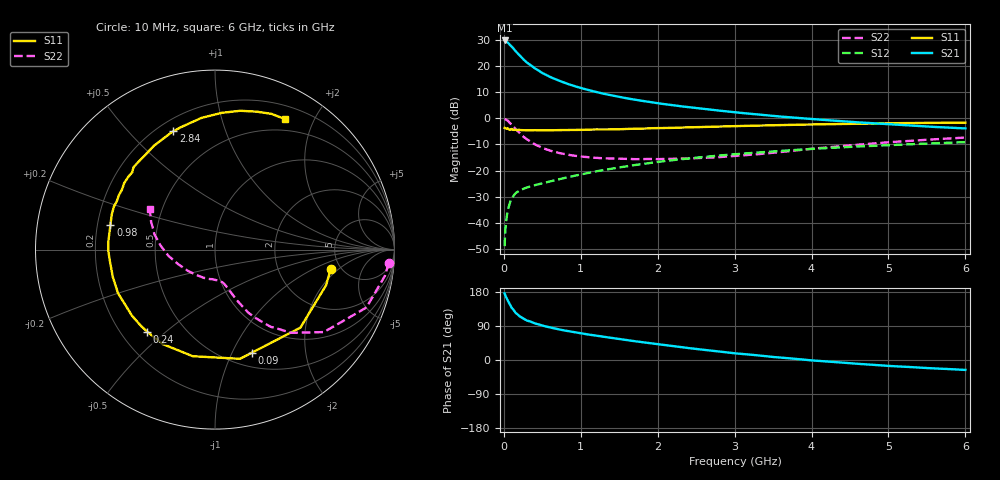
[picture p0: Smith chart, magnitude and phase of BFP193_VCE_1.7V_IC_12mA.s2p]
! Infineon Technologies  Discrete & RF Semiconductors
! BFP193
! VCE = 1.7 V,  IC =  12 mA
! Common Emitter S-Parameters:  Jan 2016
# GHz  S  MA  R  50
!  f  S11  S21  S12  S22
! GHz  MAG  ANG  MAG  ANG  MAG  ANG  MAG  ANG
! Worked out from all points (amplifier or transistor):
!   210 points, 10 MHz to 6 GHz, reference 50 ohm
!   highest |S21| = 29.7 dB at 10 MHz (marker M1)
!   |S21| within 3 dB of that: start of sweep to 121.7 MHz
!   unconditionally stable (mu >= 1): 895.7 MHz to 3.754 GHz
!   at 185 MHz: K = 0.37, MSG = 26.3 dB, |S12| = -28.0 dB
!   at 1.52 GHz: K = 1.09, MAG = 11.5 dB, |S12| = -18.7 dB
!   at 6 GHz: K = 0.92, MSG = 2.6 dB, |S12| = -9.1 dB
!   S11 on the Smith chart (normalised r, x): 10 MHz: 4.18, -1.54; 90 MHz: 0.66, -1.20; 240 MHz: 0.31, -0.43; 980 MHz: 0.25, +0.11; 2.84 GHz: 0.26, +0.68; 6 GHz: 0.35, +1.61
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0.01  0.654 -9.3  30.68 175.7  0.0036 88.5  0.9708 -4.4
0.02  0.6498 -17.8  29.72 169.7  0.0074 85.6  0.9585 -8.7
0.05  0.6446 -42.4  28.09 156.5  0.0173 72.2  0.9035 -20.9
0.09  0.6098 -70.2  24.42 142.5  0.0268 60.9  0.7842 -33.4
0.1  0.6242 -77.1  23.78 138.4  0.0293 59.2  0.7613 -37.1
0.15  0.6068 -101.8  19.35 125.1  0.0367 50.9  0.6297 -47.4
0.2  0.6017 -119.0  16.13 116.0  0.0414 46.4  0.5289 -54.3
0.24  0.5931 -129.6  14.02 110.7  0.044 44.8  0.4648 -57.9
0.26  0.5924 -134.1  13.12 108.2  0.0453 44.3  0.4385 -59.6
0.3  0.5912 -141.5  11.62 104.2  0.0477 43.9  0.3964 -62.2
0.4  0.5924 -155.8  9.063 96.8  0.0526 43.7  0.3189 -66.0
0.5  0.5894 -165.0  7.327 90.8  0.0571 44.5  0.271 -68.6
0.7  0.5947 -179.6  5.345 81.2  0.0674 47.4  0.2197 -72.3
0.98  0.5983 166.8  3.867 71.2  0.0833 49.6  0.1876 -77.1
1.02  0.6007 165.0  3.721 69.8  0.0856 49.8  0.1849 -78.0
1.4  0.6153 150.5  2.73 58.3  0.1088 50.4  0.171 -86.7
2.02  0.6491 130.9  1.92 41.3  0.1477 47.1  0.166 -105.6
2.84  0.6988 109.4  1.381 21.4  0.1963 40.0  0.1829 -135.4
3.1  0.7118 103.8  1.26 16.0  0.2109 37.3  0.195 -144.6
4.1  0.7666 85.6  0.944 -2.4  0.2647 27.1  0.2691 -175.0
5.1  0.8057 71.9  0.755 -16.6  0.311 16.4  0.3554 163.7
6  0.825 61.8  0.64 -26.2  0.3502 6.7  0.4284 148.0
